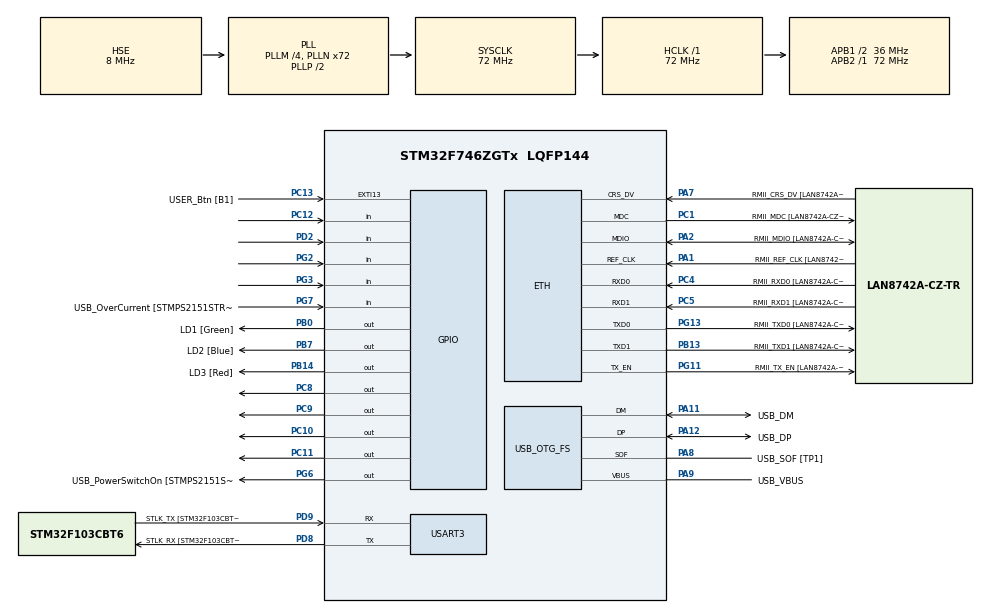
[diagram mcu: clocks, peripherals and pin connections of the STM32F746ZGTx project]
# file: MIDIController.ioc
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ETH.MediaInterface=HAL_ETH_RMII_MODE
ETH.PHY_Name=LAN8742A_PHY_ADDRESS
ETH.PHY_Value=0
ETH.PhyAddress=0
FREERTOS.Tasks01=defaultTask,0,128,StartDefaultTask,Default,NULL,Dynamic,NULL,NULL
FREERTOS.configUSE_NEWLIB_REENTRANT=1
Mcu.Family=STM32F7
Mcu.Name=STM32F746ZGTx
Mcu.Package=LQFP144
NVIC.OTG_FS_IRQn=true\:5\:0\:false\:false\:true\:true\:false\:true\:true
NVIC.PriorityGroup=NVIC_PRIORITYGROUP_4
NVIC.TIM6_DAC_IRQn=true\:15\:0\:false\:false\:true\:false\:false\:true\:true
NVIC.TimeBase=TIM6_DAC_IRQn
NVIC.TimeBaseIP=TIM6
PA1.GPIO_Label=RMII_REF_CLK [LAN8742A-CZ-TR_REFCLK0]
PA1.Mode=RMII
PA1.Signal=ETH_REF_CLK
PA10.GPIO_Label=USB_ID
PA10.Signal=USB_OTG_FS_ID
PA11.GPIO_Label=USB_DM
PA11.Mode=Device_Only
PA11.Signal=USB_OTG_FS_DM
PA12.GPIO_Label=USB_DP
PA12.Mode=Device_Only
PA12.Signal=USB_OTG_FS_DP
PA13.GPIO_Label=TMS
PA13.Mode=Serial_Wire
PA13.Signal=SYS_JTMS-SWDIO
PA14.GPIO_Label=TCK
PA14.Mode=Serial_Wire
PA14.Signal=SYS_JTCK-SWCLK
PA2.GPIO_Label=RMII_MDIO [LAN8742A-CZ-TR_MDIO]
PA2.Mode=RMII
PA2.Signal=ETH_MDIO
PA7.GPIO_Label=RMII_CRS_DV [LAN8742A-CZ-TR_CRS_DV]
PA7.Mode=RMII
PA7.Signal=ETH_CRS_DV
PA8.GPIO_Label=USB_SOF [TP1]
PA8.Mode=Activate_SOF_FS
PA8.Signal=USB_OTG_FS_SOF
PA9.GPIO_Label=USB_VBUS
PA9.Mode=Activate_VBUS
PA9.Signal=USB_OTG_FS_VBUS
PB0.GPIO_Label=LD1 [Green]
PB0.Signal=GPIO_Output
PB13.GPIO_Label=RMII_TXD1 [LAN8742A-CZ-TR_TXD1]
PB13.Mode=RMII
PB13.Signal=ETH_TXD1
PB14.GPIO_Label=LD3 [Red]
PB14.Signal=GPIO_Output
PB3.GPIO_Label=SW0
PB3.Signal=SYS_JTDO-SWO
PB7.GPIO_Label=LD2 [Blue]
PB7.Signal=GPIO_Output
PC1.GPIO_Label=RMII_MDC [LAN8742A-CZ-TR_MDC]
PC1.Mode=RMII
PC1.Signal=ETH_MDC
PC10.Signal=GPIO_Output
PC11.Signal=GPIO_Output
PC12.GPIO_PuPd=GPIO_PULLUP
PC12.Signal=GPIO_Input
PC13.GPIO_Label=USER_Btn [B1]
PC13.Signal=GPXTI13
PC14/OSC32_IN.Mode=LSE-External-Oscillator
PC14/OSC32_IN.Signal=RCC_OSC32_IN
PC15/OSC32_OUT.Mode=LSE-External-Oscillator
PC15/OSC32_OUT.Signal=RCC_OSC32_OUT
PC4.GPIO_Label=RMII_RXD0 [LAN8742A-CZ-TR_RXD0]
PC4.Mode=RMII
PC4.Signal=ETH_RXD0
PC5.GPIO_Label=RMII_RXD1 [LAN8742A-CZ-TR_RXD1]
PC5.Mode=RMII
PC5.Signal=ETH_RXD1
PC8.Signal=GPIO_Output
PC9.Signal=GPIO_Output
PD2.GPIO_PuPd=GPIO_PULLUP
PD2.Signal=GPIO_Input
PD8.GPIO_Label=STLK_RX [STM32F103CBT6_PA3]
PD8.GPIO_PuPd=GPIO_PULLUP
PD8.Mode=Asynchronous
PD8.Signal=USART3_TX
PD9.GPIO_Label=STLK_TX [STM32F103CBT6_PA2]
PD9.GPIO_PuPd=GPIO_PULLUP
PD9.Mode=Asynchronous
PD9.Signal=USART3_RX
PG11.GPIO_Label=RMII_TX_EN [LAN8742A-CZ-TR_TXEN]
PG11.Mode=RMII
PG11.Signal=ETH_TX_EN
PG13.GPIO_Label=RMII_TXD0 [LAN8742A-CZ-TR_TXD0]
PG13.Mode=RMII
PG13.Signal=ETH_TXD0
PG2.GPIO_PuPd=GPIO_PULLUP
PG2.Signal=GPIO_Input
PG3.GPIO_PuPd=GPIO_PULLUP
PG3.Signal=GPIO_Input
PG6.GPIO_Label=USB_PowerSwitchOn [STMPS2151STR_EN]
PG6.Signal=GPIO_Output
PG7.GPIO_Label=USB_OverCurrent [STMPS2151STR_FAULT]
PG7.Signal=GPIO_Input
PH0/OSC_IN.GPIO_Label=MCO [STM32F103CBT6_PA8]
PH0/OSC_IN.Mode=HSE-External-Clock-Source
PH0/OSC_IN.Signal=RCC_OSC_IN
PH1/OSC_OUT.Mode=HSE-External-Clock-Source
PH1/OSC_OUT.Signal=RCC_OSC_OUT
ProjectManager.HeapSize=0x200
ProjectManager.StackSize=0x400
ProjectManager.TargetToolchain=STM32CubeIDE
RCC.48MHZClocksFreq_Value=24000000
RCC.AHBFreq_Value=72000000
RCC.APB1CLKDivider=RCC_HCLK_DIV2
RCC.APB1Freq_Value=36000000
RCC.APB1TimFreq_Value=72000000
RCC.APB2Freq_Value=72000000
RCC.APB2TimFreq_Value=72000000
RCC.CortexFreq_Value=72000000
RCC.HCLKFreq_Value=72000000
RCC.HSE_VALUE=8000000
RCC.HSI_VALUE=16000000
RCC.PLLM=4
RCC.PLLMUL=RCC_PLL_MUL9
RCC.PLLN=72
RCC.PLLQ=3
RCC.PRESCALERUSB=RCC_USBCLKSOURCE_PLL_DIV1_5
RCC.SYSCLKFreq_VALUE=72000000
RCC.SYSCLKSource=RCC_SYSCLKSOURCE_PLLCLK
RCC.SYSCLKSourceVirtual=RCC_SYSCLKSOURCE_PLLCLK
RCC.USBFreq_Value=48000000
RCC.VCOOutputFreq_Value=144000000
USART3.VirtualMode-Asynchronous=VM_ASYNC
USB_DEVICE.CLASS_NAME_FS=CDC
USB_DEVICE.VirtualMode-CDC_FS=Cdc
USB_DEVICE.VirtualModeFS=Cdc_FS
USB_OTG_FS.VirtualMode=Device_Only
VP_FREERTOS_VS_CMSIS_V1.Mode=CMSIS_V1
VP_SYS_VS_tim6.Mode=TIM6
VP_USB_DEVICE_VS_USB_DEVICE_CDC_FS.Mode=CDC_FS
board=NUCLEO-F746ZG

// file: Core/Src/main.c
/* USER CODE BEGIN Header */
/**
  ******************************************************************************
  * @file           : main.c
  * @brief          : Main program body
  ******************************************************************************
  * @attention
  *
  * Copyright (c) 2023 STMicroelectronics.
  * All rights reserved.
  *
  * This software is licensed under terms that can be found in the LICENSE file
  * in the root directory of this software component.
  * If no LICENSE file comes with this software, it is provided AS-IS.
  *
  ******************************************************************************
  */
/* USER CODE END Header */
#include "main.h"
#include "string.h"
#include "cmsis_os.h"
#include "usb_device.h"

#if defined ( __ICCARM__ ) /*!< IAR Compiler */
#pragma location=0x2004c000
ETH_DMADescTypeDef  DMARxDscrTab[ETH_RX_DESC_CNT]; /* Ethernet Rx DMA Descriptors */
#pragma location=0x2004c0a0
ETH_DMADescTypeDef  DMATxDscrTab[ETH_TX_DESC_CNT]; /* Ethernet Tx DMA Descriptors */

#elif defined ( __CC_ARM )  /* MDK ARM Compiler */

__attribute__((at(0x2004c000))) ETH_DMADescTypeDef  DMARxDscrTab[ETH_RX_DESC_CNT]; /* Ethernet Rx DMA Descriptors */
__attribute__((at(0x2004c0a0))) ETH_DMADescTypeDef  DMATxDscrTab[ETH_TX_DESC_CNT]; /* Ethernet Tx DMA Descriptors */

#elif defined ( __GNUC__ ) /* GNU Compiler */
ETH_DMADescTypeDef DMARxDscrTab[ETH_RX_DESC_CNT] __attribute__((section(".RxDecripSection"))); /* Ethernet Rx DMA Descriptors */
ETH_DMADescTypeDef DMATxDscrTab[ETH_TX_DESC_CNT] __attribute__((section(".TxDecripSection")));   /* Ethernet Tx DMA Descriptors */

#endif

ETH_TxPacketConfig TxConfig;

ETH_HandleTypeDef heth;

UART_HandleTypeDef huart3;

osThreadId defaultTaskHandle;

void SystemClock_Config(void);
static void MX_GPIO_Init(void);
static void MX_ETH_Init(void);
static void MX_USART3_UART_Init(void);
void StartDefaultTask(void const * argument);

/* USER CODE BEGIN 0 */
#ifdef __GNUC__
#define PUTCHAR_PROTOTYPE int __io_putchar(int ch)
#else
#define PUTCHAR_PROTOTYPE int fputc(int ch, FILE *f)
#endif

PUTCHAR_PROTOTYPE
{
  HAL_UART_Transmit(&huart3, (uint8_t *)&ch, 1, HAL_MAX_DELAY);
  return ch;
}
/* USER CODE END 0 */

int main(void)
{

  /* MCU Configuration--------------------------------------------------------*/

  /* Reset of all peripherals, Initializes the Flash interface and the Systick. */
  HAL_Init();

  /* Configure the system clock */
  SystemClock_Config();

  /* Initialize all configured peripherals */
  MX_GPIO_Init();
  MX_ETH_Init();
  MX_USART3_UART_Init();

  /* Create the thread(s) */
  /* definition and creation of defaultTask */
  osThreadDef(defaultTask, StartDefaultTask, osPriorityNormal, 0, 128);
  defaultTaskHandle = osThreadCreate(osThread(defaultTask), NULL);

  /* Start scheduler */
  osKernelStart();
  /* We should never get here as control is now taken by the scheduler */
  /* Infinite loop */
  while (1)
  {

  }
}

void SystemClock_Config(void)
{
  RCC_OscInitTypeDef RCC_OscInitStruct = {0};
  RCC_ClkInitTypeDef RCC_ClkInitStruct = {0};

  /** Configure LSE Drive Capability
  */
  HAL_PWR_EnableBkUpAccess();

  /** Configure the main internal regulator output voltage
  */
  __HAL_RCC_PWR_CLK_ENABLE();
  __HAL_PWR_VOLTAGESCALING_CONFIG(PWR_REGULATOR_VOLTAGE_SCALE3);

  /** Initializes the RCC Oscillators according to the specified parameters
  * in the RCC_OscInitTypeDef structure.
  */
  RCC_OscInitStruct.OscillatorType = RCC_OSCILLATORTYPE_HSE;
  RCC_OscInitStruct.HSEState = RCC_HSE_BYPASS;
  RCC_OscInitStruct.PLL.PLLState = RCC_PLL_ON;
  RCC_OscInitStruct.PLL.PLLSource = RCC_PLLSOURCE_HSE;
  RCC_OscInitStruct.PLL.PLLM = 4;
  RCC_OscInitStruct.PLL.PLLN = 72;
  RCC_OscInitStruct.PLL.PLLP = RCC_PLLP_DIV2;
  RCC_OscInitStruct.PLL.PLLQ = 3;
  if (HAL_RCC_OscConfig(&RCC_OscInitStruct) != HAL_OK)
  {
    Error_Handler();
  }

  /** Initializes the CPU, AHB and APB buses clocks
  */
  RCC_ClkInitStruct.ClockType = RCC_CLOCKTYPE_HCLK|RCC_CLOCKTYPE_SYSCLK
                              |RCC_CLOCKTYPE_PCLK1|RCC_CLOCKTYPE_PCLK2;
  RCC_ClkInitStruct.SYSCLKSource = RCC_SYSCLKSOURCE_PLLCLK;
  RCC_ClkInitStruct.AHBCLKDivider = RCC_SYSCLK_DIV1;
  RCC_ClkInitStruct.APB1CLKDivider = RCC_HCLK_DIV2;
  RCC_ClkInitStruct.APB2CLKDivider = RCC_HCLK_DIV1;

  if (HAL_RCC_ClockConfig(&RCC_ClkInitStruct, FLASH_LATENCY_2) != HAL_OK)
  {
    Error_Handler();
  }
}

static void MX_ETH_Init(void)
{

   static uint8_t MACAddr[6];

  heth.Instance = ETH;
  MACAddr[0] = 0x00;
  MACAddr[1] = 0x80;
  MACAddr[2] = 0xE1;
  MACAddr[3] = 0x00;
  MACAddr[4] = 0x00;
  MACAddr[5] = 0x00;
  heth.Init.MACAddr = &MACAddr[0];
  heth.Init.MediaInterface = HAL_ETH_RMII_MODE;
  heth.Init.TxDesc = DMATxDscrTab;
  heth.Init.RxDesc = DMARxDscrTab;
  heth.Init.RxBuffLen = 1524;

  if (HAL_ETH_Init(&heth) != HAL_OK)
  {
    Error_Handler();
  }

  memset(&TxConfig, 0 , sizeof(ETH_TxPacketConfig));
  TxConfig.Attributes = ETH_TX_PACKETS_FEATURES_CSUM | ETH_TX_PACKETS_FEATURES_CRCPAD;
  TxConfig.ChecksumCtrl = ETH_CHECKSUM_IPHDR_PAYLOAD_INSERT_PHDR_CALC;
  TxConfig.CRCPadCtrl = ETH_CRC_PAD_INSERT;

}

static void MX_USART3_UART_Init(void)
{

  huart3.Instance = USART3;
  huart3.Init.BaudRate = 115200;
  huart3.Init.WordLength = UART_WORDLENGTH_8B;
  huart3.Init.StopBits = UART_STOPBITS_1;
  huart3.Init.Parity = UART_PARITY_NONE;
  huart3.Init.Mode = UART_MODE_TX_RX;
  huart3.Init.HwFlowCtl = UART_HWCONTROL_NONE;
  huart3.Init.OverSampling = UART_OVERSAMPLING_16;
  huart3.Init.OneBitSampling = UART_ONE_BIT_SAMPLE_DISABLE;
  huart3.AdvancedInit.AdvFeatureInit = UART_ADVFEATURE_NO_INIT;
  if (HAL_UART_Init(&huart3) != HAL_OK)
  {
    Error_Handler();
  }

}

static void MX_GPIO_Init(void)
{
  GPIO_InitTypeDef GPIO_InitStruct = {0};

  /* GPIO Ports Clock Enable */
  __HAL_RCC_GPIOC_CLK_ENABLE();
  __HAL_RCC_GPIOH_CLK_ENABLE();
  __HAL_RCC_GPIOA_CLK_ENABLE();
  __HAL_RCC_GPIOB_CLK_ENABLE();
  __HAL_RCC_GPIOD_CLK_ENABLE();
  __HAL_RCC_GPIOG_CLK_ENABLE();

  /*Configure GPIO pin Output Level */
  HAL_GPIO_WritePin(GPIOB, LD1_Pin|LD3_Pin|LD2_Pin, GPIO_PIN_RESET);

  /*Configure GPIO pin Output Level */
  HAL_GPIO_WritePin(USB_PowerSwitchOn_GPIO_Port, USB_PowerSwitchOn_Pin, GPIO_PIN_RESET);

  /*Configure GPIO pin Output Level */
  HAL_GPIO_WritePin(GPIOC, GPIO_PIN_8|GPIO_PIN_9|GPIO_PIN_10|GPIO_PIN_11, GPIO_PIN_RESET);

  /*Configure GPIO pin : USER_Btn_Pin */
  GPIO_InitStruct.Pin = USER_Btn_Pin;
  GPIO_InitStruct.Mode = GPIO_MODE_IT_RISING;
  GPIO_InitStruct.Pull = GPIO_NOPULL;
  HAL_GPIO_Init(USER_Btn_GPIO_Port, &GPIO_InitStruct);

  /*Configure GPIO pins : LD1_Pin LD3_Pin LD2_Pin */
  GPIO_InitStruct.Pin = LD1_Pin|LD3_Pin|LD2_Pin;
  GPIO_InitStruct.Mode = GPIO_MODE_OUTPUT_PP;
  GPIO_InitStruct.Pull = GPIO_NOPULL;
  GPIO_InitStruct.Speed = GPIO_SPEED_FREQ_LOW;
  HAL_GPIO_Init(GPIOB, &GPIO_InitStruct);

  /*Configure GPIO pins : PG2 PG3 */
  GPIO_InitStruct.Pin = GPIO_PIN_2|GPIO_PIN_3;
  GPIO_InitStruct.Mode = GPIO_MODE_INPUT;
  GPIO_InitStruct.Pull = GPIO_PULLUP;
  HAL_GPIO_Init(GPIOG, &GPIO_InitStruct);

  /*Configure GPIO pin : USB_PowerSwitchOn_Pin */
  GPIO_InitStruct.Pin = USB_PowerSwitchOn_Pin;
  GPIO_InitStruct.Mode = GPIO_MODE_OUTPUT_PP;
  GPIO_InitStruct.Pull = GPIO_NOPULL;
  GPIO_InitStruct.Speed = GPIO_SPEED_FREQ_LOW;
  HAL_GPIO_Init(USB_PowerSwitchOn_GPIO_Port, &GPIO_InitStruct);

  /*Configure GPIO pin : USB_OverCurrent_Pin */
  GPIO_InitStruct.Pin = USB_OverCurrent_Pin;
  GPIO_InitStruct.Mode = GPIO_MODE_INPUT;
  GPIO_InitStruct.Pull = GPIO_NOPULL;
  HAL_GPIO_Init(USB_OverCurrent_GPIO_Port, &GPIO_InitStruct);

  /*Configure GPIO pins : PC8 PC9 PC10 PC11 */
  GPIO_InitStruct.Pin = GPIO_PIN_8|GPIO_PIN_9|GPIO_PIN_10|GPIO_PIN_11;
  GPIO_InitStruct.Mode = GPIO_MODE_OUTPUT_PP;
  GPIO_InitStruct.Pull = GPIO_NOPULL;
  GPIO_InitStruct.Speed = GPIO_SPEED_FREQ_LOW;
  HAL_GPIO_Init(GPIOC, &GPIO_InitStruct);

  /*Configure GPIO pin : PC12 */
  GPIO_InitStruct.Pin = GPIO_PIN_12;
  GPIO_InitStruct.Mode = GPIO_MODE_INPUT;
  GPIO_InitStruct.Pull = GPIO_PULLUP;
  HAL_GPIO_Init(GPIOC, &GPIO_InitStruct);

  /*Configure GPIO pin : PD2 */
  GPIO_InitStruct.Pin = GPIO_PIN_2;
  GPIO_InitStruct.Mode = GPIO_MODE_INPUT;
  GPIO_InitStruct.Pull = GPIO_PULLUP;
  HAL_GPIO_Init(GPIOD, &GPIO_InitStruct);

}

/* USER CODE BEGIN 4 */
#define R1_PORT GPIOC
#define R1_PIN GPIO_PIN_8

#define R2_PORT GPIOC
#define R2_PIN GPIO_PIN_9

#define R3_PORT GPIOC
#define R3_PIN GPIO_PIN_10

#define R4_PORT GPIOC
#define R4_PIN GPIO_PIN_11

#define C1_PORT GPIOC
#define C1_PIN GPIO_PIN_12

#define C2_PORT GPIOD
#define C2_PIN GPIO_PIN_2

#define C3_PORT GPIOG
#define C3_PIN GPIO_PIN_2

#define C4_PORT GPIOG
#define C4_PIN GPIO_PIN_3

char read_keypad(void){
	/* Make ROW 1 LOW and all other ROWs HIGH */
		HAL_GPIO_WritePin (R1_PORT, R1_PIN, GPIO_PIN_RESET);  //Pull the R1 low
		HAL_GPIO_WritePin (R2_PORT, R2_PIN, GPIO_PIN_SET);  // Pull the R2 High
		HAL_GPIO_WritePin (R3_PORT, R3_PIN, GPIO_PIN_SET);  // Pull the R3 High
		HAL_GPIO_WritePin (R4_PORT, R4_PIN, GPIO_PIN_SET);  // Pull the R4 High

		if (!(HAL_GPIO_ReadPin (C1_PORT, C1_PIN)))   // if the Col 1 is low
		{
			while (!(HAL_GPIO_ReadPin (C1_PORT, C1_PIN)));   // wait till the button is pressed
			return '1';
		}

		if (!(HAL_GPIO_ReadPin (C2_PORT, C2_PIN)))   // if the Col 2 is low
		{
			while (!(HAL_GPIO_ReadPin (C2_PORT, C2_PIN)));   // wait till the button is pressed
			return '2';
		}

		if (!(HAL_GPIO_ReadPin (C3_PORT, C3_PIN)))   // if the Col 3 is low
		{
			while (!(HAL_GPIO_ReadPin (C3_PORT, C3_PIN)));   // wait till the button is pressed
			return '3';
		}

		if (!(HAL_GPIO_ReadPin(C4_PORT, C4_PIN)))   // if the Col 4 is low
			{
				while (!(HAL_GPIO_ReadPin (C4_PORT, C4_PIN)));   // wait till the button is pressed
				return '4';
			}
		//sekcja2
		HAL_GPIO_WritePin (R1_PORT, R1_PIN, GPIO_PIN_SET);  //Pull the R1 low
		HAL_GPIO_WritePin (R2_PORT, R2_PIN, GPIO_PIN_RESET);  // Pull the R2 High
		HAL_GPIO_WritePin (R3_PORT, R3_PIN, GPIO_PIN_SET);  // Pull the R3 High
		HAL_GPIO_WritePin (R4_PORT, R4_PIN, GPIO_PIN_SET);  // Pull the R4 High

		if (!(HAL_GPIO_ReadPin (C1_PORT, C1_PIN)))   // if the Col 1 is low
		{
			while (!(HAL_GPIO_ReadPin (C1_PORT, C1_PIN)));   // wait till the button is pressed
			return '5';
		}

		if (!(HAL_GPIO_ReadPin (C2_PORT, C2_PIN)))   // if the Col 2 is low
		{
			while (!(HAL_GPIO_ReadPin (C2_PORT, C2_PIN)));   // wait till the button is pressed
			return '6';
		}

		if (!(HAL_GPIO_ReadPin (C3_PORT, C3_PIN)))   // if the Col 3 is low
		{
			while (!(HAL_GPIO_ReadPin (C3_PORT, C3_PIN)));   // wait till the button is pressed
			return '7';
		}

		if (!(HAL_GPIO_ReadPin(C4_PORT, C4_PIN)))   // if the Col 4 is low
			{
				while (!(HAL_GPIO_ReadPin (C4_PORT, C4_PIN)));   // wait till the button is pressed
				return '8';
			}
		//sekcja3
		HAL_GPIO_WritePin (R1_PORT, R1_PIN, GPIO_PIN_SET);  //Pull the R1 low
		HAL_GPIO_WritePin (R2_PORT, R2_PIN, GPIO_PIN_SET);  // Pull the R2 High
		HAL_GPIO_WritePin (R3_PORT, R3_PIN, GPIO_PIN_RESET);  // Pull the R3 High
		HAL_GPIO_WritePin (R4_PORT, R4_PIN, GPIO_PIN_SET);  // Pull the R4 High

		if (!(HAL_GPIO_ReadPin (C1_PORT, C1_PIN)))   // if the Col 1 is low
		{
			while (!(HAL_GPIO_ReadPin (C1_PORT, C1_PIN)));   // wait till the button is pressed
			return '9';
		}

		if (!(HAL_GPIO_ReadPin (C2_PORT, C2_PIN)))   // if the Col 2 is low
		{
			while (!(HAL_GPIO_ReadPin (C2_PORT, C2_PIN)));   // wait till the button is pressed
			return 'a';
		}

		if (!(HAL_GPIO_ReadPin (C3_PORT, C3_PIN)))   // if the Col 3 is low
		{
			while (!(HAL_GPIO_ReadPin (C3_PORT, C3_PIN)));   // wait till the button is pressed
			return 'b';
		}

		if (!(HAL_GPIO_ReadPin(C4_PORT, C4_PIN)))   // if the Col 4 is low
		{
			while (!(HAL_GPIO_ReadPin (C4_PORT, C4_PIN)));   // wait till the button is pressed
			return 'c';
		}
		//sekcja4
		HAL_GPIO_WritePin (R1_PORT, R1_PIN, GPIO_PIN_SET);  //Pull the R1 low
		HAL_GPIO_WritePin (R2_PORT, R2_PIN, GPIO_PIN_SET);  // Pull the R2 High
		HAL_GPIO_WritePin (R3_PORT, R3_PIN, GPIO_PIN_SET);  // Pull the R3 High
		HAL_GPIO_WritePin (R4_PORT, R4_PIN, GPIO_PIN_RESET);  // Pull the R4 High

		if (!(HAL_GPIO_ReadPin (C1_PORT, C1_PIN)))   // if the Col 1 is low
		{
			while (!(HAL_GPIO_ReadPin (C1_PORT, C1_PIN)));   // wait till the button is pressed
			return 'd';
		}

		if (!(HAL_GPIO_ReadPin (C2_PORT, C2_PIN)))   // if the Col 2 is low
		{
			while (!(HAL_GPIO_ReadPin (C2_PORT, C2_PIN)));   // wait till the button is pressed
			return 'e';
		}

		if (!(HAL_GPIO_ReadPin (C3_PORT, C3_PIN)))   // if the Col 3 is low
		{
			while (!(HAL_GPIO_ReadPin (C3_PORT, C3_PIN)));   // wait till the button is pressed
			return 'f';
		}

		if (!(HAL_GPIO_ReadPin(C4_PORT, C4_PIN)))   // if the Col 4 is low
		{
			while (!(HAL_GPIO_ReadPin (C4_PORT, C4_PIN)));   // wait till the button is pressed
			return 'g';
		}
}
/* USER CODE END 4 */

void StartDefaultTask(void const * argument)
{
  /* init code for USB_DEVICE */
  MX_USB_DEVICE_Init();
  /* USER CODE BEGIN 5 */
	/* Infinite loop */
  for(;;)
  {
	  read_keyboard();
	  asm volatile ("nop");
	  osDelay(1);
  }
  /* USER CODE END 5 */
}

void HAL_TIM_PeriodElapsedCallback(TIM_HandleTypeDef *htim)
{
  if (htim->Instance == TIM6) {
    HAL_IncTick();
  }
}

void Error_Handler(void)
{
  __disable_irq();
  while (1)
  {
  }
}
